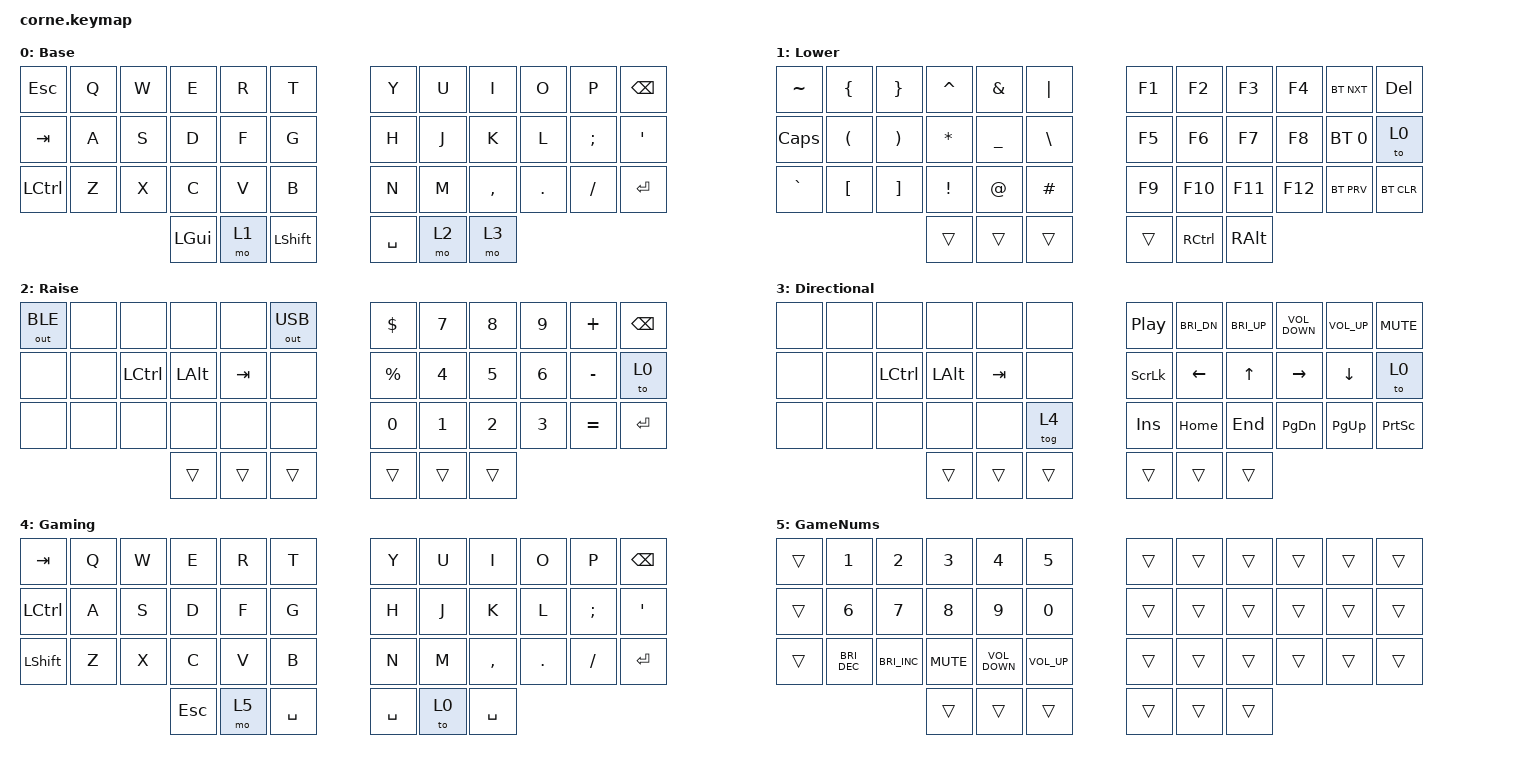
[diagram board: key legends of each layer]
/*
 * Copyright (c) 2020 The ZMK Contributors
 *
 * SPDX-License-Identifier: MIT
 */

#include <behaviors.dtsi>
#include <dt-bindings/zmk/bt.h>
#include <dt-bindings/zmk/keys.h>
#include <dt-bindings/zmk/outputs.h>

/ {
    combos {
        compatible = "zmk,combos";

        combo_tog1 {
            bindings = <&tog 1>;
            key-positions = <37 40>;
        };

        combo_tog2 {
            bindings = <&tog 2>;
            key-positions = <40 41>;
        };

        combo_tog3 {
            bindings = <&tog 3>;
            key-positions = <41 37>;
        };
    };

    keymap {
        compatible = "zmk,keymap";

        default_layer {
            // -----------------------------------------------------------------------------------------
            // |  TAB |  Q  |  W  |  E  |  R  |  T  |   |  Y  |  U   |  I  |  O  |  P  | BKSP |
            // | CTRL |  A  |  S  |  D  |  F  |  G  |   |  H  |  J   |  K  |  L  |  ;  |  '   |
            // | SHFT |  Z  |  X  |  C  |  V  |  B  |   |  N  |  M   |  ,  |  .  |  /  | ESC  |
            //                    | GUI | LWR | SPC |   | ENT | RSE  | ALT |

            display-name = "Base";
            bindings = <
&kp ESCAPE        &kp Q  &kp W  &kp E     &kp R  &kp T             &kp Y      &kp U  &kp I      &kp O    &kp P     &kp BSPC
&kp TAB           &kp A  &kp S  &kp D     &kp F  &kp G             &kp H      &kp J  &kp K      &kp L    &kp SEMI  &kp SQT
&kp LEFT_CONTROL  &kp Z  &kp X  &kp C     &kp V  &kp B             &kp N      &kp M  &kp COMMA  &kp DOT  &kp FSLH  &kp ENTER
                                &kp LGUI  &mo 1  &kp LEFT_SHIFT    &kp SPACE  &mo 2  &mo 3
            >;
        };

        Symbols {
            // -----------------------------------------------------------------------------------------
            // |  TAB |  1  |  2  |  3  |  4  |  5  |   |  6  |  7  |  8  |  9  |  0  | BKSP |
            // | BTCLR| BT1 | BT2 | BT3 | BT4 | BT5 |   | LFT | DWN |  UP | RGT |     |      |
            // | SHFT |     |     |     |     |     |   |     |     |     |     |     |      |
            //                    | GUI |     | SPC |   | ENT |     | ALT |

            display-name = "Lower";
            bindings = <
&kp TILDE     &kp LEFT_BRACE        &kp RIGHT_BRACE        &kp CARET        &kp AMPERSAND   &kp PIPE         &kp F1  &kp F2             &kp F3    &kp F4   &bt BT_NXT    &kp DELETE
&kp CAPSLOCK  &kp LEFT_PARENTHESIS  &kp RIGHT_PARENTHESIS  &kp ASTERISK     &kp UNDERSCORE  &kp BACKSLASH    &kp F5  &kp F6             &kp F7    &kp F8   &bt BT_SEL 0  &to 0
&kp GRAVE     &kp LEFT_BRACKET      &kp RIGHT_BRACKET      &kp EXCLAMATION  &kp AT_SIGN     &kp HASH         &kp F9  &kp F10            &kp F11   &kp F12  &bt BT_PRV    &bt BT_CLR
                                                           &trans           &trans          &trans           &trans  &kp RIGHT_CONTROL  &kp RALT
            >;
        };

        NumberPad {
            // -----------------------------------------------------------------------------------------
            // |  TAB |  !  |  @  |  #  |  $  |  %  |   |  ^  |  &  |  *  |  (  |  )  | BKSP |
            // | CTRL |     |     |     |     |     |   |  -  |  =  |  [  |  ]  |  \  |  `   |
            // | SHFT |     |     |     |     |     |   |  _  |  +  |  {  |  }  | "|" |  ~   |
            //                    | GUI |     | SPC |   | ENT |     | ALT |

            display-name = "Raise";
            bindings = <
&out OUT_BLE  &none  &none             &none         &none    &out OUT_USB    &kp DOLLAR    &kp NUMBER_7  &kp NUMBER_8  &kp NUMBER_9  &kp PLUS   &kp BSPC
&none         &none  &kp LEFT_CONTROL  &kp LEFT_ALT  &kp TAB  &none           &kp PERCENT   &kp NUMBER_4  &kp N5        &kp NUMBER_6  &kp MINUS  &to 0
&none         &none  &none             &none         &none    &none           &kp NUMBER_0  &kp NUMBER_1  &kp NUMBER_2  &kp NUMBER_3  &kp EQUAL  &kp ENTER
                                       &trans        &trans   &trans          &trans        &trans        &trans
            >;
        };

        Directional {
            bindings = <
&none  &none  &none             &none         &none    &none     &kp C_PLAY_PAUSE  &kp C_BRI_DN    &kp C_BRI_UP  &kp C_VOLUME_DOWN  &kp C_VOLUME_UP  &kp C_MUTE
&none  &none  &kp LEFT_CONTROL  &kp LEFT_ALT  &kp TAB  &none     &kp SCROLLLOCK    &kp LEFT_ARROW  &kp UP_ARROW  &kp RIGHT          &kp DOWN         &to 0
&none  &none  &none             &none         &none    &tog 4    &kp INSERT        &kp HOME        &kp END       &kp PAGE_DOWN      &kp PAGE_UP      &kp PRINTSCREEN
                                &trans        &trans   &trans    &trans            &trans          &trans
            >;
        };

        Gaming {
            bindings = <
&kp TAB           &kp Q  &kp W  &kp E       &kp R  &kp T        &kp Y      &kp U  &kp I      &kp O       &kp P          &kp BACKSPACE
&kp LEFT_CONTROL  &kp A  &kp S  &kp D       &kp F  &kp G        &kp H      &kp J  &kp K      &kp L       &kp SEMICOLON  &kp APOSTROPHE
&kp LEFT_SHIFT    &kp Z  &kp X  &kp C       &kp V  &kp B        &kp N      &kp M  &kp COMMA  &kp PERIOD  &kp SLASH      &kp ENTER
                                &kp ESCAPE  &mo 5  &kp SPACE    &kp SPACE  &to 0  &kp SPACE
            >;
        };

        GameNums {
            bindings = <
&trans  &kp NUMBER_1          &kp NUMBER_2          &kp NUMBER_3  &kp NUMBER_4       &kp NUMBER_5       &trans  &trans  &trans  &trans  &trans  &trans
&trans  &kp NUMBER_6          &kp NUMBER_7          &kp NUMBER_8  &kp NUMBER_9       &kp NUMBER_0       &trans  &trans  &trans  &trans  &trans  &trans
&trans  &kp C_BRIGHTNESS_DEC  &kp C_BRIGHTNESS_INC  &kp C_MUTE    &kp C_VOLUME_DOWN  &kp C_VOLUME_UP    &trans  &trans  &trans  &trans  &trans  &trans
                                                    &trans        &trans             &trans             &trans  &trans  &trans
            >;
        };
    };
};
